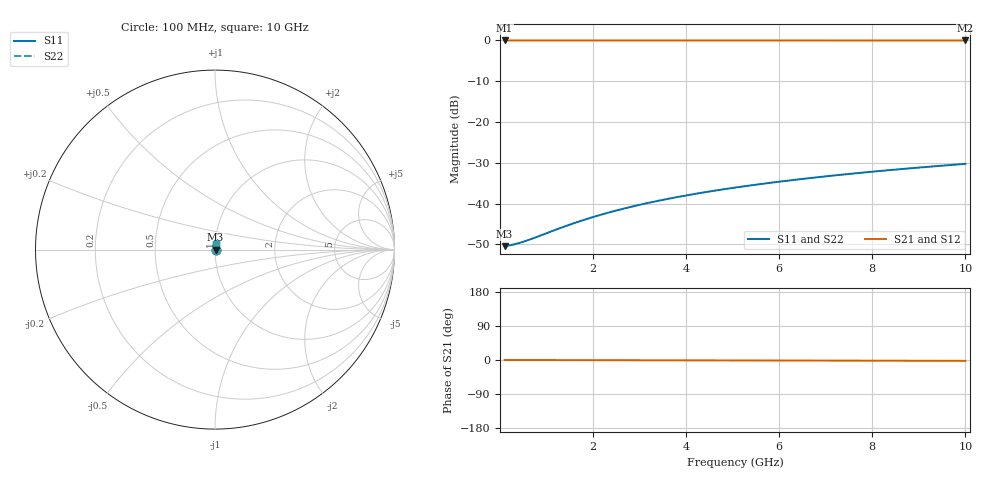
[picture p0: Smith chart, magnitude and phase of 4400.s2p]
# Hz S RI R 50.00
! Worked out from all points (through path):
!   100 points, 100 MHz to 10 GHz, reference 50 ohm
!   highest |S21| = -0.03 dB at 100 MHz (marker M1); lowest = 0.0 dB at 10 GHz (marker M2)
!   lowest |S11| = -50.4 dB at 100 MHz (marker M3), VSWR 1.01, Z = 50.3 + j0.0305 ohm
!   |S11| at or under -10 dB: start of sweep to end of sweep
!   |S22| runs from -50.4 to -30.3 dB; largest |S21 - S12| = 0
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1e8  0.003 0.000304  0.997 -0.000394  0.997 -0.000394  0.003 0.000304
2e8  0.00302 0.000607  0.997 -0.000788  0.997 -0.000788  0.00302 0.000607
3e8  0.00304 0.000911  0.997 -0.00118  0.997 -0.00118  0.00304 0.000911
4e8  0.00305 0.00121  0.9969 -0.00158  0.9969 -0.00158  0.00305 0.00121
5e8  0.00306 0.00152  0.9969 -0.00197  0.9969 -0.00197  0.00306 0.00152
7e8  0.00308 0.00212  0.9969 -0.00276  0.9969 -0.00276  0.00308 0.00212
1.4e9  0.00314 0.00425  0.9969 -0.00552  0.9969 -0.00552  0.00314 0.00425
1.8e9  0.00317 0.00546  0.9968 -0.00709  0.9968 -0.00709  0.00317 0.00546
2.2e9  0.0032 0.00668  0.9968 -0.00867  0.9968 -0.00867  0.0032 0.00668
2.6e9  0.00324 0.00789  0.9968 -0.0102  0.9968 -0.0102  0.00324 0.00789
3e9  0.00328 0.0091  0.9967 -0.0118  0.9967 -0.0118  0.00328 0.0091
3.4e9  0.00332 0.0103  0.9967 -0.0134  0.9967 -0.0134  0.00332 0.0103
3.8e9  0.00336 0.0115  0.9966 -0.015  0.9966 -0.015  0.00336 0.0115
4.2e9  0.00341 0.0127  0.9966 -0.0165  0.9966 -0.0165  0.00341 0.0127
4.6e9  0.00346 0.014  0.9965 -0.0181  0.9965 -0.0181  0.00346 0.014
5.1e9  0.00353 0.0155  0.9965 -0.0201  0.9965 -0.0201  0.00353 0.0155
5.9e9  0.00365 0.0179  0.9963 -0.0233  0.9963 -0.0233  0.00365 0.0179
6.7e9  0.00379 0.0203  0.9962 -0.0264  0.9962 -0.0264  0.00379 0.0203
7.5e9  0.00394 0.0228  0.996 -0.0296  0.996 -0.0296  0.00394 0.0228
8.4e9  0.00413 0.0255  0.9958 -0.0331  0.9958 -0.0331  0.00413 0.0255
9.2e9  0.00431 0.0279  0.9956 -0.0363  0.9956 -0.0363  0.00431 0.0279
1e10  0.00451 0.0304  0.9954 -0.0395  0.9954 -0.0395  0.00451 0.0304
